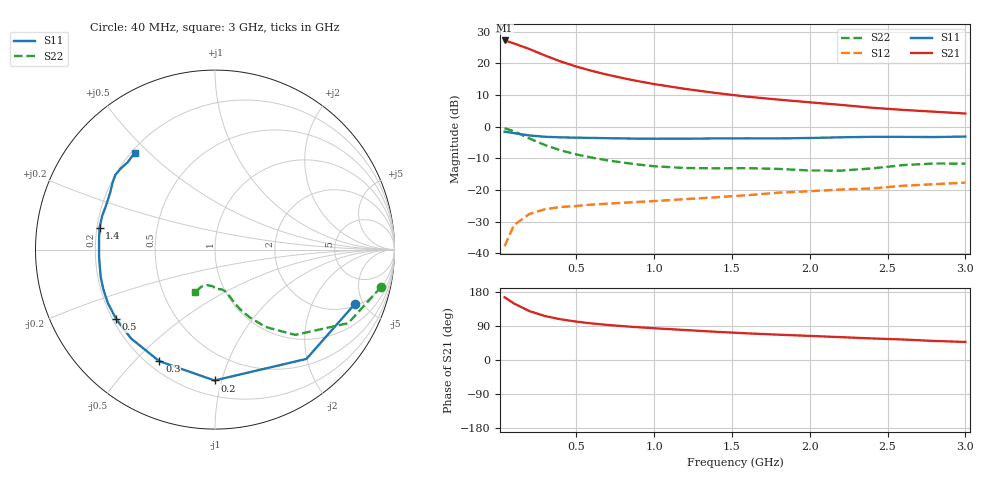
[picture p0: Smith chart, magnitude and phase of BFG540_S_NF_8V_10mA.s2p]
! Filename:  BFG540H.S2P  Version:  3.0
! Philips part #: BFG540  Date: Feb 1992
! Bias condition: Vce=8V, Ic=10mA
! IN LINE PINNING: same data as with cross emitter pinning.
#  MHz  S  MA  R  50
! Freq  S11  S21  S12  S22  !GUM [dB]
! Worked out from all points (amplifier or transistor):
!   21 points, 40 MHz to 3 GHz, reference 50 ohm
!   highest |S21| = 27.3 dB at 40 MHz (marker M1)
!   |S21| within 3 dB of that: start of sweep to 213.5 MHz
!   unconditionally stable (mu >= 1): 1.252 GHz to end of sweep
!   at 300 MHz: K = 0.31, MSG = 24.3 dB, |S12| = -26.0 dB
!   at 1 GHz: K = 0.88, MSG = 18.5 dB, |S12| = -23.5 dB
!   at 3 GHz: K = 1.23, MAG = 8.0 dB, |S12| = -17.7 dB
!   lowest NFmin = 1.30 dB at 900 MHz
!   S11 on the Smith chart (normalised r, x): 40 MHz: 2.16, -4.34; 200 MHz: 0.30, -0.95; 300 MHz: 0.25, -0.59; 500 MHz: 0.21, -0.30; 1.4 GHz: 0.21, +0.09; 3 GHz: 0.21, +0.45
40  0.837 -21.1  23.1 165.5  0.013 77.7  0.949 -12.6
100  0.794 -50.1  20.74 149.2  0.028 63.4  0.848 -28.9
200  0.729 -90.2  16.88 128.9  0.042 48.5  0.652 -46.8
300  0.695 -116.5  13.35 115.9  0.05 41.2  0.514 -56.9
400  0.681 -133.3  10.75 107.4  0.054 37.8  0.424 -62.9
500  0.673 -145.0  8.943 101.3  0.056 37.0  0.366 -66.8
600  0.667 -153.6  7.64 96.5  0.059 37.2  0.326 -69.4
700  0.66 -160.5  6.649 92.6  0.061 37.8  0.295 -71.2
800  0.655 -166.3  5.872 89.3  0.063 38.6  0.272 -72.7
900  0.649 -171.4  5.24 86.4  0.065 40.0  0.253 -74.4
1000  0.647 -176.3  4.732 83.8  0.067 41.5  0.238 -76.4
1200  0.648 175.5  3.964 79.1  0.072 44.3  0.223 -81.4
1400  0.655 169.2  3.412 74.4  0.077 46.4  0.221 -85.8
1600  0.656 163.4  2.987 70.3  0.083 49.8  0.222 -87.8
1800  0.655 157.6  2.686 66.8  0.091 51.4  0.216 -89.4
2000  0.665 151.4  2.434 63.6  0.096 53.8  0.204 -94.2
2200  0.682 146.7  2.218 60.3  0.102 55.1  0.203 -102.6
2400  0.694 143.1  1.999 56.9  0.106 57.1  0.22 -110.2
2600  0.693 139.5  1.848 54.1  0.117 57.8  0.248 -113.6
2800  0.688 135.0  1.731 50.2  0.124 57.1  0.263 -114.0
3000  0.701 129.7  1.619 47.7  0.131 58.9  0.261 -115.5
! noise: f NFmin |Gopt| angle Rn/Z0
900  1.3  0.284  125  0.13
1000  1.4  0.29  134  0.12
2000  2.1  0.505  -167  0.11
